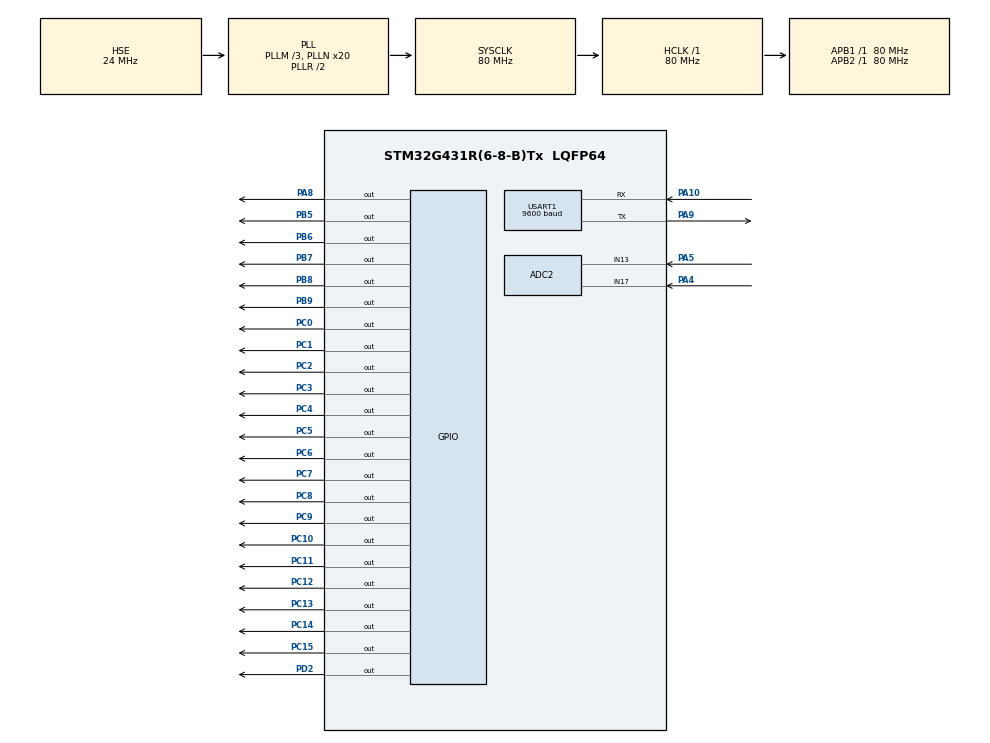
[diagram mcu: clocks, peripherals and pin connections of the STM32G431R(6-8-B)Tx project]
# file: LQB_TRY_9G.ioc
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ADC2.Channel-0\#ChannelRegularConversion=ADC_CHANNEL_17
ADC2.Channel-1\#ChannelRegularConversion=ADC_CHANNEL_13
ADC2.NbrOfConversion=2
ADC2.NbrOfConversionFlag=1
ADC2.OffsetNumber-0\#ChannelRegularConversion=ADC_OFFSET_NONE
ADC2.OffsetNumber-1\#ChannelRegularConversion=ADC_OFFSET_NONE
ADC2.Rank-0\#ChannelRegularConversion=1
ADC2.Rank-1\#ChannelRegularConversion=2
ADC2.SamplingTime-0\#ChannelRegularConversion=ADC_SAMPLETIME_640CYCLES_5
ADC2.SamplingTime-1\#ChannelRegularConversion=ADC_SAMPLETIME_640CYCLES_5
Mcu.Family=STM32G4
Mcu.Name=STM32G431R(6-8-B)Tx
Mcu.Package=LQFP64
NVIC.PriorityGroup=NVIC_PRIORITYGROUP_4
NVIC.TIM6_DAC_IRQn=true\:0\:0\:false\:false\:true\:true\:true
NVIC.USART1_IRQn=true\:0\:0\:false\:false\:true\:true\:true
PA10.Mode=Asynchronous
PA10.Signal=USART1_RX
PA13.Mode=Serial_Wire
PA13.Signal=SYS_JTMS-SWDIO
PA14.Mode=Serial_Wire
PA14.Signal=SYS_JTCK-SWCLK
PA4.Mode=IN17-Single-Ended
PA4.Signal=ADC2_IN17
PA5.Mode=IN13-Single-Ended
PA5.Signal=ADC2_IN13
PA8.Signal=GPIO_Output
PA9.Mode=Asynchronous
PA9.Signal=USART1_TX
PB5.Signal=GPIO_Output
PB6.Signal=GPIO_Output
PB7.Signal=GPIO_Output
PB8-BOOT0.Signal=GPIO_Output
PB9.Signal=GPIO_Output
PC0.Signal=GPIO_Output
PC1.Signal=GPIO_Output
PC10.Signal=GPIO_Output
PC11.Signal=GPIO_Output
PC12.Signal=GPIO_Output
PC13.Signal=GPIO_Output
PC14-OSC32_IN.Signal=GPIO_Output
PC15-OSC32_OUT.Signal=GPIO_Output
PC2.Signal=GPIO_Output
PC3.Signal=GPIO_Output
PC4.Signal=GPIO_Output
PC5.Signal=GPIO_Output
PC6.Signal=GPIO_Output
PC7.Signal=GPIO_Output
PC8.Signal=GPIO_Output
PC9.Signal=GPIO_Output
PD2.Signal=GPIO_Output
PF0-OSC_IN.Mode=HSE-External-Oscillator
PF0-OSC_IN.Signal=RCC_OSC_IN
PF1-OSC_OUT.Mode=HSE-External-Oscillator
PF1-OSC_OUT.Signal=RCC_OSC_OUT
ProjectManager.HeapSize=0x200
ProjectManager.StackSize=0x400
ProjectManager.TargetToolchain=MDK-ARM V5
RCC.ADC12Freq_Value=80000000
RCC.AHBFreq_Value=80000000
RCC.APB1Freq_Value=80000000
RCC.APB1TimFreq_Value=80000000
RCC.APB2Freq_Value=80000000
RCC.APB2TimFreq_Value=80000000
RCC.CortexFreq_Value=80000000
RCC.EXTERNAL_CLOCK_VALUE=12288000
RCC.HCLKFreq_Value=80000000
RCC.HSE_VALUE=24000000
RCC.HSI48_VALUE=48000000
RCC.HSI_VALUE=16000000
RCC.LSE_VALUE=32768
RCC.PLLM=RCC_PLLM_DIV3
RCC.PLLN=20
RCC.PLLSourceVirtual=RCC_PLLSOURCE_HSE
RCC.SYSCLKFreq_VALUE=80000000
RCC.SYSCLKSource=RCC_SYSCLKSOURCE_PLLCLK
RCC.USBFreq_Value=80000000
RCC.VCOOutputFreq_Value=160000000
TIM6.PeriodNoDither=999
TIM6.Prescaler=799
USART1.BaudRate=9600
USART1.VirtualMode-Asynchronous=VM_ASYNC
VP_SYS_VS_DBSignals.Mode=DisableDeadBatterySignals
VP_TIM6_VS_ClockSourceINT.Mode=Enable_Timer
board=custom

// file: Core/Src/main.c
/* USER CODE BEGIN Header */
/**
  ******************************************************************************
  * @file           : main.c
  * @brief          : Main program body
  ******************************************************************************
  * @attention
  *
  * <h2><center>&copy; Copyright (c) 2023 STMicroelectronics.
  * All rights reserved.</center></h2>
  *
  * This software component is licensed by ST under BSD 3-Clause license,
  * the "License"; You may not use this file except in compliance with the
  * License. You may obtain a copy of the License at:
  *                        opensource.org/licenses/BSD-3-Clause
  *
  ******************************************************************************
  */
/* USER CODE END Header */
#include "main.h"
#include "adc.h"
#include "tim.h"
#include "usart.h"
#include "gpio.h"

/* USER CODE BEGIN Includes */
#include "i2c_hal.h"
#include "lcd.h"
/* USER CODE END Includes */

/* USER CODE BEGIN PV */
bool page=0,flag=0,lflag=0;
double adc[2] = { 0 };
unsigned char line=0,goods=0,key_value=0,key_value0=0,key_value1=0,judge=0;
char text[30],text1[40];
int st=0,time=0,ktime=0,price[3] = { 0 };
/* USER CODE END PV */

void SystemClock_Config(void);
/* USER CODE BEGIN PFP */
void LCD_Proc(void);
void LED_Proc(unsigned char led,unsigned char sta);
void ADC_Proc(void);
void ADC_KEY(void);
uint16_t ADC_Key_Scan(void);
/* USER CODE END PFP */

int main(void)
{

  /* MCU Configuration--------------------------------------------------------*/

  /* Reset of all peripherals, Initializes the Flash interface and the Systick. */
  HAL_Init();

  /* Configure the system clock */
  SystemClock_Config();

  /* Initialize all configured peripherals */
  MX_GPIO_Init();
  MX_ADC2_Init();
  MX_USART1_UART_Init();
  MX_TIM6_Init();
  /* USER CODE BEGIN 2 */
	//LCD_INIT
	LCD_Init();
	LCD_Clear(White);
	LCD_SetBackColor(White);
	LCD_SetTextColor(Black);
	//ADC_INIT
	HAL_ADCEx_Calibration_Start(&hadc2,ADC_SINGLE_ENDED);
	//I2C_INIT
	I2CInit();
	price[0] = (eeprom_read(0)<<8) + eeprom_read(1);
	if(price[0] > 1000 || price[0] < 0) price[0] = 20;
	price[1] = (eeprom_read(2)<<8) + eeprom_read(3);
	if(price[1] > 1000 || price[1] < 0) price[1] = 30;
	price[2] = (eeprom_read(4)<<8) + eeprom_read(5);
	if(price[2] > 1000 || price[2] < 0) price[2] = 30;
	st = (eeprom_read(6) << 8) + eeprom_read(7);
	if(st < 0) st = 0;
	//TIM_INIT
	HAL_TIM_Base_Start_IT(&htim6);
	//LED_INIT
	LED_Proc(0,0);
  /* USER CODE END 2 */

  /* Infinite loop */
  /* USER CODE BEGIN WHILE */
  while (1)
  {
		LCD_Proc();
		ADC_KEY();
    /* USER CODE END WHILE */

  }
}

void SystemClock_Config(void)
{
  RCC_OscInitTypeDef RCC_OscInitStruct = {0};
  RCC_ClkInitTypeDef RCC_ClkInitStruct = {0};
  RCC_PeriphCLKInitTypeDef PeriphClkInit = {0};

  /** Configure the main internal regulator output voltage
  */
  HAL_PWREx_ControlVoltageScaling(PWR_REGULATOR_VOLTAGE_SCALE1);
  /** Initializes the RCC Oscillators according to the specified parameters
  * in the RCC_OscInitTypeDef structure.
  */
  RCC_OscInitStruct.OscillatorType = RCC_OSCILLATORTYPE_HSE;
  RCC_OscInitStruct.HSEState = RCC_HSE_ON;
  RCC_OscInitStruct.PLL.PLLState = RCC_PLL_ON;
  RCC_OscInitStruct.PLL.PLLSource = RCC_PLLSOURCE_HSE;
  RCC_OscInitStruct.PLL.PLLM = RCC_PLLM_DIV3;
  RCC_OscInitStruct.PLL.PLLN = 20;
  RCC_OscInitStruct.PLL.PLLP = RCC_PLLP_DIV2;
  RCC_OscInitStruct.PLL.PLLQ = RCC_PLLQ_DIV2;
  RCC_OscInitStruct.PLL.PLLR = RCC_PLLR_DIV2;
  if (HAL_RCC_OscConfig(&RCC_OscInitStruct) != HAL_OK)
  {
    Error_Handler();
  }
  /** Initializes the CPU, AHB and APB buses clocks
  */
  RCC_ClkInitStruct.ClockType = RCC_CLOCKTYPE_HCLK|RCC_CLOCKTYPE_SYSCLK
                              |RCC_CLOCKTYPE_PCLK1|RCC_CLOCKTYPE_PCLK2;
  RCC_ClkInitStruct.SYSCLKSource = RCC_SYSCLKSOURCE_PLLCLK;
  RCC_ClkInitStruct.AHBCLKDivider = RCC_SYSCLK_DIV1;
  RCC_ClkInitStruct.APB1CLKDivider = RCC_HCLK_DIV1;
  RCC_ClkInitStruct.APB2CLKDivider = RCC_HCLK_DIV1;

  if (HAL_RCC_ClockConfig(&RCC_ClkInitStruct, FLASH_LATENCY_2) != HAL_OK)
  {
    Error_Handler();
  }
  /** Initializes the peripherals clocks
  */
  PeriphClkInit.PeriphClockSelection = RCC_PERIPHCLK_USART1|RCC_PERIPHCLK_ADC12;
  PeriphClkInit.Usart1ClockSelection = RCC_USART1CLKSOURCE_PCLK2;
  PeriphClkInit.Adc12ClockSelection = RCC_ADC12CLKSOURCE_SYSCLK;
  if (HAL_RCCEx_PeriphCLKConfig(&PeriphClkInit) != HAL_OK)
  {
    Error_Handler();
  }
}

/* USER CODE BEGIN 4 */
/************************************************************************************************
*屏幕显示部分
*LCD
************************************************************************************************/
void LCD_Proc(void)
{
	if(page == 0)
	{
		LCD_DisplayStringLine(Line1,(u8 *)"        USER        ");
		sprintf(text,"    Num:%d           ",goods+1);
		LCD_DisplayStringLine(Line2,(u8 *)text);
		sprintf(text,"    Price:%.2f           ",((double)price[goods])/100);
		LCD_DisplayStringLine(Line3,(u8 *)text);
		sprintf(text,"    weight:%.2f           ",adc[0]/409.5);
		LCD_DisplayStringLine(Line4,(u8 *)text);
		sprintf(text,"    Money:%.1f           ",adc[0]/409.5*((double)price[goods])/100);
		LCD_DisplayStringLine(Line5,(u8 *)text);

		LCD_DisplayStringLine(Line6,(u8 *)"                      ");
	}
	else if(page == 1)
	{
		LCD_DisplayStringLine(Line1,(u8 *)"      Setting       ");

		if(line==0) LCD_SetTextColor(Green);
		sprintf(text,"    Price1:%.2f/Kg        ",((double)price[0])/100);
		LCD_DisplayStringLine(Line2,(u8 *)text);
		LCD_SetTextColor(Black);

		if(line==1) LCD_SetTextColor(Green);
		sprintf(text,"    Price2:%.2f/Kg        ",((double)price[1])/100);
		LCD_DisplayStringLine(Line3,(u8 *)text);
		LCD_SetTextColor(Black);

		if(line==2) LCD_SetTextColor(Green);
		sprintf(text,"    Price3:%.2f/Kg        ",((double)price[2])/100);
		LCD_DisplayStringLine(Line4,(u8 *)text);
		LCD_SetTextColor(Black);

		LCD_DisplayStringLine(Line5,(u8 *)"                      ");

		sprintf(text,"          STimes:%d",st);
		LCD_DisplayStringLine(Line6,(u8 *)text);
	}
	else page = 0;
}
/************************************************************************************************
*LED控制部分
*LED
************************************************************************************************/
void LED_Proc(unsigned char led,unsigned char sta)
{
	static unsigned char LED_STA = 0xff;
	if(sta == 0) LED_STA |= (0x01 << (led - 1));
	else LED_STA &= ~(0x01 << (led - 1));

	GPIOC->ODR = LED_STA << 8;
	HAL_GPIO_WritePin(GPIOD,GPIO_PIN_2,GPIO_PIN_SET);
	HAL_GPIO_WritePin(GPIOD,GPIO_PIN_2,GPIO_PIN_RESET);
}
/************************************************************************************************
*ADC值获取部分
*ADC
************************************************************************************************/
void ADC_Proc(void)
{
	HAL_ADC_Start(&hadc2);
	adc[0] = HAL_ADC_GetValue(&hadc2);
	HAL_ADC_Start(&hadc2);
	adc[1] = HAL_ADC_GetValue(&hadc2);
}
/************************************************************************************************
*按键操作（功能）部分
*KEY
************************************************************************************************/
void ADC_KEY(void)
{
	if(key_value1 == 1)
	{
		page = page==0?1:0;
		if(page == 0)
		{
			unsigned char h,l;
			st++;
			flag = 0;
			time = 0;
			for(int i=0;i<3;i++)
			{
				h = price[i] >> 8;
				l = price[i] & 0x00ff;
				eeprom_write(2*i+0,h);
				HAL_Delay(10);
				eeprom_write(2*i+1,l);
				HAL_Delay(10);
			}
			h = st >> 8;
			l = st & 0x00ff;
			eeprom_write(6,h);
			HAL_Delay(10);
			eeprom_write(7,l);
			HAL_Delay(10);
			sprintf(text1,"U.W.1:%.2f\r\nU.W.2:%.2f\r\nU.W.3:%.2f\r\n\r\n",
			((double)price[0])/100,((double)price[1])/100,((double)price[2])/100);
			HAL_UART_Transmit(&huart1,(u8 *)text1,strlen(text1),50);
		}
		else
		{
			flag = 1;
			time = 0;
		}
		key_value1 = 0;
	}
	if(key_value1 == 2)
	{
		if(page == 1)
		{
			price[line] = price[line]>=1000?1000:price[line]+1;
		}
		key_value1 = 0;
	}
	if(key_value1 == 3)
	{
		if(page == 1)
		{
			price[line] = price[line]<=0?0:price[line]-1;
		}
		key_value1 = 0;
	}
	if(key_value1 == 4)
	{
		line = line==2?0:line+1;
		key_value1 = 0;
	}
	if(key_value1 == 5)
	{
		if(page == 0) goods = 0;
		key_value1 = 0;
	}
	if(key_value1 == 6)
	{
		if(page == 0) goods = 1;
		key_value1 = 0;
	}
	if(key_value1 == 7)
	{
		if(page == 0) goods = 2;
		key_value1 = 0;
	}
	if(key_value1 == 8)
	{
		if(page == 0)
		{
			sprintf(text1,"U.W.%d:%.2f\r\nG.W:%.2f\r\nTotal:%.2f\r\n\r\n",
			goods+1,((double)price[goods])/100,adc[0]/409.5,adc[0]/409.5*((double)price[goods])/100);
			HAL_UART_Transmit(&huart1,(u8 *)text1,strlen(text1),50);
		}
		key_value1 = 0;
	}
}
/************************************************************************************************
*按键判断部分
*KEY
************************************************************************************************/
uint16_t ADC_Key_Scan(void)
{
	if((int)adc[1] < 150) return 1;
	if((int)adc[1] < 800) return 2;
	if((int)adc[1] < 1600) return 3;
	if((int)adc[1] < 2000) return 4;
	if((int)adc[1] < 2700) return 5;
	if((int)adc[1] < 3300) return 6;
	if((int)adc[1] < 3700) return 7;
	if((int)adc[1] < 4000) return 8;
	return 0;
}

void HAL_TIM_PeriodElapsedCallback(TIM_HandleTypeDef *htim)
{
	if(htim->Instance == TIM6)
	{
		//LED闪烁部分
		time++;
		if(flag == 0)
		{
			if(time >= 40)
			{
				lflag = 1 - lflag;
				LED_Proc(1,lflag);
				time = 0;
			}
		}
		else if(flag == 1)
		{
			if(time >= 80)
			{
				lflag = 1 - lflag;
				LED_Proc(1,lflag);
				time = 0;
			}
		}
		//ADC读值部分
		ADC_Proc();
		/**************************************
		*按键判断部分
		**************************************/
		key_value0 = ADC_Key_Scan();
		switch(judge)
		{
			case 0:
			{
				if(key_value0 != 0) judge = 1;
			}
			break;
			case 1:
			{
				if(key_value0 != 0)
				{
					judge = 2;
					key_value = key_value0;
				}
				else judge = 0;
			}
			break;
			case 2:
			{
				ktime++;
				if(ktime < 80 && key_value0 == 0)
				{
					key_value1 = key_value;
					ktime = 0;
					judge = 0;
					key_value = 0;
				}
				else if(ktime > 80 && key_value !=2 && key_value != 3)
				{
					key_value1 = key_value;
					ktime = 0;
					key_value = 0;
				}
				else if(key_value0 != 0 && ktime > 80)
				{
					judge = 3;
					key_value1 = key_value;
					ktime = 0;
				}
				else if(key_value0 == 0)
				{
					judge = 0;
					key_value = 0;
					ktime = 0;
				}
			}
			break;
			case 3:
			{
				ktime++;
				if(key_value0 != 0 && ktime > 10)
				{
					ktime = 0;
					key_value1 = key_value;
				}
				else if(key_value0 == 0)
				{
					ktime = 0;
					judge = 0;
					key_value = 0;
				}
			}
			break;
		}
	}
}
/* USER CODE END 4 */

void Error_Handler(void)
{
  __disable_irq();
  while (1)
  {
  }
}

/************************ (C) COPYRIGHT STMicroelectronics *****END OF FILE****/
